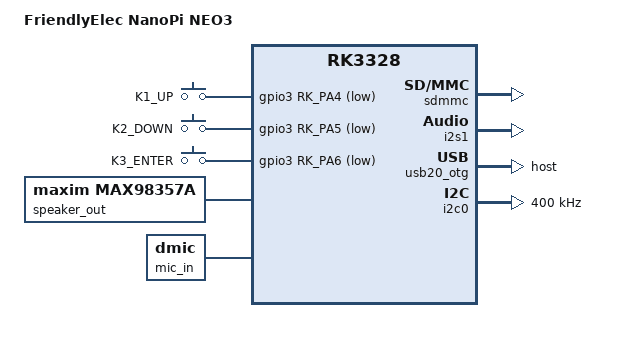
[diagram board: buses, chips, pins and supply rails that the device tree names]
// SPDX-License-Identifier: (GPL-2.0+ OR MIT)
/*
 * Copyright (c) 2020 FriendlyElec Computer Tech. Co., Ltd.
 * (http://www.friendlyarm.com)
 */

/dts-v1/;
#include "rk3328-nanopi-r2-common.dtsi"
#include "rk3328-nanopi-r2-dram-timing.dtsi"

/ {
	model = "FriendlyElec NanoPi NEO3";
	compatible = "friendlyelec,nanopi-neo3", "rockchip,rk3328";

	/* 新增1：波轮按键的gpio-keys节点直接写在/{}下，和sound节点同级 */
	gpio_keys_wheel: gpio-keys-wheels {
		compatible = "gpio-keys";
		status = "okay";  /* 新增这一行，强制启用该节点 */
		pinctrl-names = "default";
		/* 引用新增的PIN配置下面会定义 */
		pinctrl-0 = <&gpio_key_wheel_pins>;

		/* K1 - 上键GPIO3A4 */
		button@1 {
			gpios = <&gpio3 RK_PA4 GPIO_ACTIVE_LOW>;
			label = "K1_UP";
			linux,code = <KEY_UP>;
			debounce-interval = <20>;
		};

		/* K2 - 下键 GPIO3A5 */
		button@2 {
			gpios = <&gpio3 RK_PA5 GPIO_ACTIVE_LOW>;
			label = "K2_DOWN";
			linux,code = <KEY_DOWN>;
			debounce-interval = <20>;
		};

		/* K3 - 确认键 GPIO3A6 */
		button@3 {
			gpios = <&gpio3 RK_PA6 GPIO_ACTIVE_LOW>;
			label = "K3_ENTER";
			linux,code = <KEY_ENTER>;
			debounce-interval = <20>;
		};
	};

	speaker_out: speaker-codec {
		compatible = "maxim,max98357a";
		#sound-dai-cells = <0>;
		status = "okay";
	};

	mic_in: mic-codec {
		compatible = "linux,dmic";
		#sound-dai-cells = <0>;
		status = "okay";
	};
        
	sound {
                compatible = "simple-audio-card";
                simple-audio-card,name = "NEO3-FullDuplex";
		status = "okay";

		/* 播放链路 Playback */
		simple_dai_playback: simple-audio-card,dai-link@0 {
			simple-audio-card,format = "i2s";			
			simple-audio-card,bitclock-master = <&cpudai0>;
			simple-audio-card,frame-master = <&cpudai0>;

			cpudai0: cpu {
				sound-dai = <&i2s1>;
			};
			codec {
				sound-dai = <&speaker_out>;
			};
		};

		/* 录音链路 Capture */
		simple_dai_capture: simple-audio-card,dai-link@1 {
			simple-audio-card,format = "i2s";
			simple-audio-card,bitclock-master = <&cpudai1>;
			simple-audio-card,frame-master = <&cpudai1>;

			cpudai1: cpu {
				sound-dai = <&i2s1>;
			};
			codec {
				sound-dai = <&mic_in>;
			};
		};

        };

};

/* 新增2：PIN脚配置 在&pinctrl节点中补充 */
&pinctrl {
	rockchip-key {
		/* 新增波轮按键的PIN配置 GPIO3A4/3A5/3A6设为GPIO功能 */
		gpio_key_wheel_pins: gpio-key-wheel-pins {
			rockchip,pins = <3 RK_PA4 RK_FUNC_GPIO &pcfg_pull_none>,
					<3 RK_PA5 RK_FUNC_GPIO &pcfg_pull_none>,
					<3 RK_PA6 RK_FUNC_GPIO &pcfg_pull_none>;
		};
	};
	/* 新增：禁用UART1的PIN脚配置，将其设为GPIO功能 */
	uart1 {
		uart1_xfer: uart1-xfer {
			rockchip,pins = <3 RK_PA4 RK_FUNC_GPIO &pcfg_pull_none>,  /* 原UART1_TX → GPIO */
					<3 RK_PA6 RK_FUNC_GPIO &pcfg_pull_none>;  /* 原UART1_RX → GPIO */
		};

		uart1_cts: uart1-cts {
			rockchip,pins = <3 RK_PA7 RK_FUNC_GPIO &pcfg_pull_none>;  /* 原UART1_CTS → GPIO 不用也设为GPIO，避免占用 */
		};

		uart1_rts: uart1-rts {
			rockchip,pins = <3 RK_PA5 RK_FUNC_GPIO &pcfg_pull_none>;  /* 原UART1_RTS → GPIO */
		};
	};
};

&mach {
	hwrev = <2>;
	model = "NanoPi NEO3";
};

&vccio_sd {
	status = "okay";
};

&io_domains {
	vccio3-supply = <&vccio_sd>;
};

&sdmmc {
	vqmmc-supply = <&vccio_sd>;
	max-frequency = <150000000>;
	sd-uhs-sdr50;
	sd-uhs-sdr104;
	status = "okay";
};

&i2s1 {
	#sound-dai-cells = <0>;
	status = "okay";
	pinctrl-names = "default";
	pinctrl-0 = <&i2s1_mclk &i2s1_sclk &i2s1_lrcktx &i2s1_sdo &i2s1_sdi>;
	/*pinctrl-names = "default";*/
	/* rockchip,grf = <&grf>; */
	/* rockchip,clk-src = <1>; */
};

&uart1 {
	status = "disabled";
	pinctrl-0 = <>;  /* 清空PIN脚配置，避免引用原uart1_xfer */
	/* pinctrl-0 = <&uart1_xfer>; */
};

&usb20_otg {
	dr_mode = "host";
};

&i2c0 {
	clock-frequency = <400000>;
	status = "okay";
};
